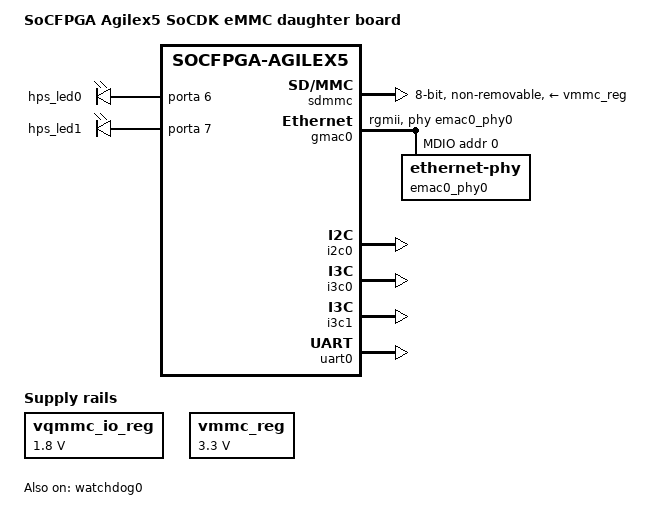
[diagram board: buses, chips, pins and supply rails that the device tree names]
// SPDX-License-Identifier: GPL-2.0-only
/*
 * Copyright (C) 2026, Altera Corporation
 */
#include "socfpga_agilex5.dtsi"

/ {
	model = "SoCFPGA Agilex5 SoCDK eMMC daughter board";
	compatible = "intel,socfpga-agilex5-socdk-emmc", "intel,socfpga-agilex5";

	aliases {
		ethernet0 = &gmac0;
		i3c0 = &i3c0;
		i3c1 = &i3c1;
		serial0 = &uart0;
	};

	chosen {
		stdout-path = "serial0:115200n8";
	};

	leds {
		compatible = "gpio-leds";

		led-0 {
			label = "hps_led0";
			gpios = <&porta 6 GPIO_ACTIVE_HIGH>;
		};

		led-1 {
			label = "hps_led1";
			gpios = <&porta 7 GPIO_ACTIVE_HIGH>;
		};
	};

	memory@80000000 {
		device_type = "memory";
		/* Expect the bootloader to fill in the reg */
		reg = <0x0 0x80000000 0x0 0x0>;
	};

	vqmmc_io_reg: regulator-fixed-1p8v {
		compatible = "regulator-fixed";
		regulator-always-on;
		regulator-max-microvolt = <1800000>;
		regulator-min-microvolt = <1800000>;
		regulator-name = "vqmmc-io";
	};

	vmmc_reg: regulator-fixed-3p3v {
		compatible = "regulator-fixed";
		regulator-always-on;
		regulator-max-microvolt = <3300000>;
		regulator-min-microvolt = <3300000>;
		regulator-name = "vcc-emmc";
	};
};

&sdmmc {
	bus-width = <8>;
	cap-mmc-highspeed;
	disable-wp;
	max-frequency = <200000000>;
	mmc-hs200-1_8v;
	mmc-hs400-1_8v;
	no-sd;
	no-sdio;
	non-removable;
	vmmc-supply = <&vmmc_reg>;
	vqmmc-supply = <&vqmmc_io_reg>;

	status = "okay";
};

&gmac0 {
	max-frame-size = <9000>;
	phy-handle = <&emac0_phy0>;
	phy-mode = "rgmii"; /* TX/RX clock delays provided by Agilex5 I/O hardware */

	status = "okay";

	mdio0 {
		compatible = "snps,dwmac-mdio";
		#address-cells = <1>;
		#size-cells = <0>;

		emac0_phy0: ethernet-phy@0 {
			reg = <0>;
		};
	};
};

&gpio0 {
	status = "okay";
};

&gpio1 {
	status = "okay";
};

&i2c0 {
	status = "okay";
};

&i3c0 {
	status = "okay";
};

&i3c1 {
	status = "okay";
};

&osc1 {
	clock-frequency = <25000000>;
};

&uart0 {
	status = "okay";
};

&watchdog0 {
	status = "okay";
};
